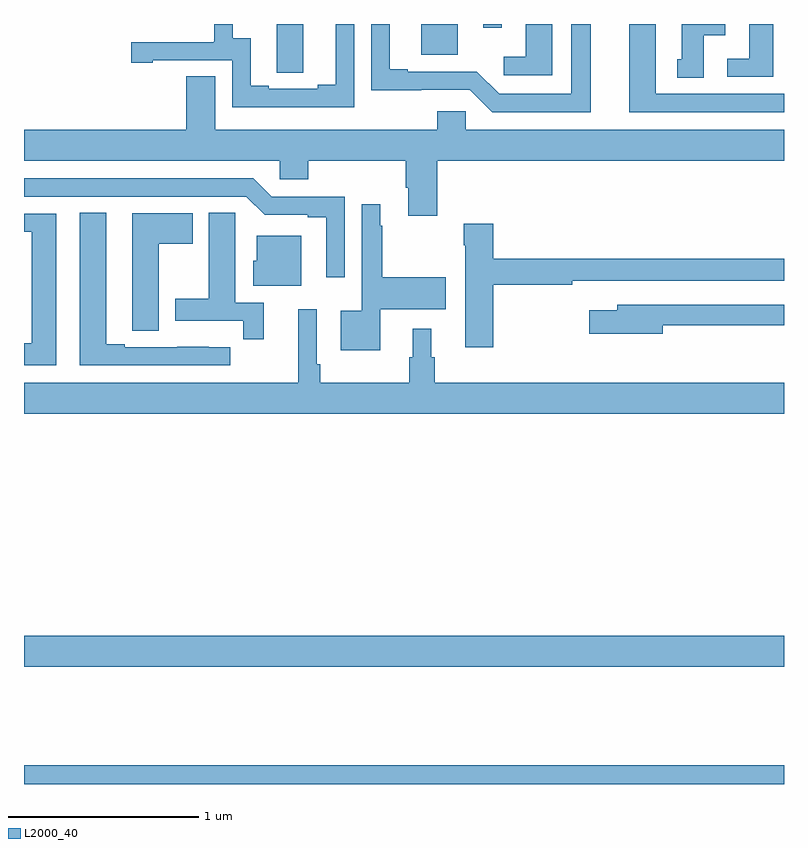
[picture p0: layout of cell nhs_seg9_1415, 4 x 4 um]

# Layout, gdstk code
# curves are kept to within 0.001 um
import gdstk
lib = gdstk.Library(unit=1e-6, precision=1e-09)
def R(c, l, rs):  # rectangles x0, y0, x1, y1
    for r in rs: c.add(gdstk.rectangle(r[:2], r[2:], *l))
def P(c, l, *ps):  # polygons
    for p in ps: c.add(gdstk.Polygon(p, *l))
L2000_40 = (2000, 40)

nhs_seg9_1415 = lib.new_cell('nhs_seg9_1415')
R(nhs_seg9_1415, L2000_40, [(191,1166.5,195,1166.6), (191,1167.116,195,1167.28), (193.091,1170.338,193.282,1170.5), (193.418,1170.48,193.515,1170.5)])
P(nhs_seg9_1415, L2000_40, [(193.984,1170.5),(193.88,1170.5),(193.88,1170.132),(193.5,1170.132),(193.383,1170.249),(193.021,1170.249),(193.021,1170.262),(192.925,1170.262),(192.925,1170.5),(192.828,1170.5),(192.828,1170.152),(193.347,1170.153),(193.464,1170.036),(193.984,1170.036)],
  [(194.578,1170.44),(194.692,1170.44),(194.692,1170.5),(194.462,1170.5),(194.462,1170.315),(194.438,1170.315),(194.438,1170.217),(194.578,1170.217)],
  [(195,1170.132),(194.326,1170.132),(194.326,1170.5),(194.186,1170.5),(194.186,1170.036),(195,1170.036)],
  [(193.78,1170.5),(193.64,1170.5),(193.64,1170.328),(193.524,1170.328),(193.524,1170.231),(193.78,1170.231)],
  [(194.944,1170.5),(194.816,1170.5),(194.816,1170.318),(194.7,1170.318),(194.7,1170.222),(194.944,1170.222)],
  [(192.738,1170.5),(192.641,1170.5),(192.641,1170.179),(192.545,1170.179),(192.545,1170.159),(192.289,1170.159),(192.289,1170.174),(192.193,1170.174),(192.193,1170.425),(192.099,1170.425),(192.099,1170.5),(192,1170.5),(192,1170.406),(191.999,1170.406),(191.999,1170.405),(191.565,1170.405),(191.565,1170.297),(191.677,1170.297),(191.677,1170.309),(192.096,1170.309),(192.096,1170.063),(192.738,1170.063)],
  [(192.469,1170.5),(192.329,1170.5),(192.329,1170.352),(192.33,1170.352),(192.33,1170.244),(192.469,1170.244)],
  [(193.175,1169.78),(195,1169.78),(195,1169.944),(193.326,1169.944),(193.326,1170.042),(193.175,1170.042),(193.175,1169.944),(192.007,1169.944),(192.007,1170.224),(191.855,1170.224),(191.855,1169.944),(191,1169.944),(191,1169.78),(192.345,1169.78),(192.345,1169.682),(192.497,1169.682),(192.497,1169.78),(193.01,1169.78),(193.01,1169.638),(193.022,1169.638),(193.022,1169.49),(193.175,1169.49)],
  [(192.687,1169.592),(192.303,1169.592),(192.207,1169.688),(191,1169.688),(191,1169.592),(192.171,1169.592),(192.267,1169.496),(192.494,1169.496),(192.494,1169.484),(192.59,1169.484),(192.59,1169.166),(192.687,1169.166)],
  [(192.874,1169),(193.219,1169),(193.219,1169.166),(192.886,1169.166),(192.886,1169.438),(192.874,1169.438),(192.874,1169.551),(192.777,1169.551),(192.777,1168.99),(192.668,1168.99),(192.668,1168.784),(192.874,1168.784)],
  [(192.263,1169.034),(192.112,1169.034),(192.112,1169.396),(192.111,1169.396),(192.111,1169.507),(191.972,1169.507),(191.972,1169.055),(191.795,1169.055),(191.795,1168.938),(192.154,1168.938),(192.154,1168.842),(192.263,1168.842)],
  [(192.085,1168.8),(191.972,1168.8),(191.972,1168.801),(191.806,1168.801),(191.806,1168.8),(191.53,1168.8),(191.53,1168.815),(191.434,1168.815),(191.434,1169.507),(191.294,1169.507),(191.294,1168.704),(192.085,1168.704)],
  [(191.71,1169.344),(191.887,1169.344),(191.887,1169.503),(191.57,1169.503),(191.57,1168.993),(191.571,1168.993),(191.571,1168.885),(191.71,1168.885)],
  [(191.17,1169.502),(191,1169.502),(191,1169.406),(191.042,1169.406),(191.042,1168.82),(191,1168.82),(191,1168.704),(191.17,1168.704)],
  [(193.469,1169.128),(193.886,1169.128),(193.886,1169.148),(195,1169.148),(195,1169.264),(193.469,1169.264),(193.469,1169.449),(193.315,1169.449),(193.315,1169.336),(193.322,1169.336),(193.322,1168.8),(193.469,1168.8)],
  [(192.46,1169.386),(192.224,1169.386),(192.224,1169.253),(192.206,1169.253),(192.206,1169.123),(192.46,1169.123)],
  [(194.362,1168.914),(195,1168.914),(195,1169.022),(194.123,1169.022),(194.123,1168.993),(193.974,1168.993),(193.974,1168.871),(194.362,1168.871)],
  [(195,1168.612),(193.163,1168.612),(193.163,1168.746),(193.144,1168.746),(193.144,1168.897),(193.046,1168.897),(193.046,1168.746),(193.027,1168.746),(193.027,1168.612),(192.56,1168.612),(192.56,1168.708),(192.54,1168.708),(192.54,1168.999),(192.443,1168.999),(192.443,1168.612),(191,1168.612),(191,1168.448),(195,1168.448)])

lib.write_gds('nhs_seg9_1415.gds')
